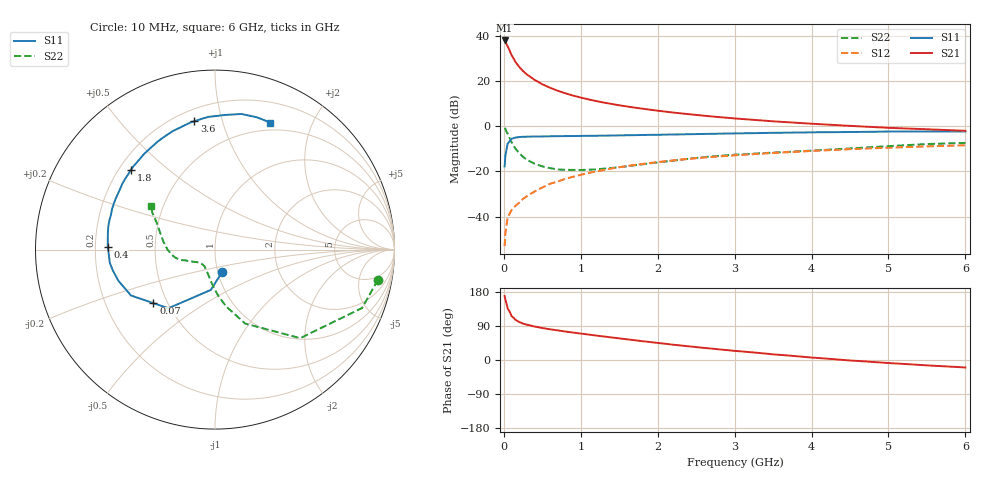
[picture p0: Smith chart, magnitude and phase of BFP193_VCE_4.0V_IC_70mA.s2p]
! Infineon Technologies  Discrete & RF Semiconductors
! BFP193
! VCE =  4.0 V,  IC =  70 mA
! Common Emitter S-Parameters:  Jan 2017
# GHz  S  MA  R  50
!  f  S11  S21  S12  S22
! GHz  MAG  ANG  MAG  ANG  MAG  ANG  MAG  ANG
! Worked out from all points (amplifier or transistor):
!   77 points, 10 MHz to 6 GHz, reference 50 ohm
!   highest |S21| = 38.2 dB at 10 MHz (marker M1)
!   |S21| within 3 dB of that: start of sweep to 55.04 MHz
!   unconditionally stable (mu >= 1): 423.6 MHz to 2.37 GHz
!   at 130 MHz: K = 0.70, MSG = 33.0 dB, |S12| = -36.0 dB
!   at 2.2 GHz: K = 1.01, MAG = 10.1 dB, |S12| = -15.1 dB
!   at 6 GHz: K = 0.93, MSG = 3.2 dB, |S12| = -8.4 dB
!   S11 on the Smith chart (normalised r, x): 10 MHz: 1.05, -0.26; 70 MHz: 0.42, -0.32; 400 MHz: 0.25, +0.01; 1.8 GHz: 0.25, +0.38; 3.6 GHz: 0.27, +0.82; 6 GHz: 0.41, +1.44
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0.01  0.1297 -71.8  80.94 169.0  0.0022 81.3  0.9232 -10.5
0.02  0.2256 -95.8  77.81 159.0  0.0042 82.0  0.8823 -21.6
0.05  0.4176 -128.5  59.69 135.4  0.0092 63.2  0.6848 -46.1
0.07  0.4548 -139.0  50.54 129.5  0.0111 61.9  0.5802 -52.6
0.1  0.5336 -151.4  38.39 115.7  0.0139 60.6  0.4454 -67.8
0.15  0.5658 -162.2  27.19 106.1  0.0172 62.5  0.3224 -79.0
0.2  0.5806 -168.3  20.9 100.3  0.0204 66.2  0.2545 -86.4
0.25  0.5907 -172.8  16.91 96.0  0.0247 66.4  0.2114 -91.7
0.3  0.5915 -176.3  14.17 93.1  0.0283 68.8  0.1817 -96.6
0.4  0.5976 178.6  10.76 88.2  0.0359 70.3  0.1482 -104.0
0.5  0.6002 174.4  8.627 84.4  0.0441 70.8  0.1297 -110.5
0.7  0.6084 167.7  6.203 78.2  0.0597 71.2  0.1108 -120.9
0.9  0.6111 161.4  4.835 72.4  0.0763 69.3  0.1083 -128.8
1.1  0.6192 155.7  3.984 67.2  0.0925 67.6  0.1094 -135.3
1.4  0.6276 147.3  3.156 59.5  0.1163 64.0  0.1198 -144.0
1.8  0.6461 136.5  2.482 49.7  0.1468 59.0  0.1442 -152.6
2.1  0.6574 129.1  2.133 42.8  0.1686 55.0  0.1665 -158.0
3.1  0.7036 107.9  1.461 22.5  0.234 41.8  0.241 -173.1
3.6  0.7245 99.1  1.268 13.4  0.2631 36.0  0.2677 178.6
4.1  0.7417 91.5  1.124 5.1  0.2909 29.9  0.297 169.2
5.1  0.7697 77.7  0.918 -9.2  0.3418 18.2  0.3729 153.2
6  0.772 66.5  0.801 -19.8  0.3819 8.1  0.4312 145.4
